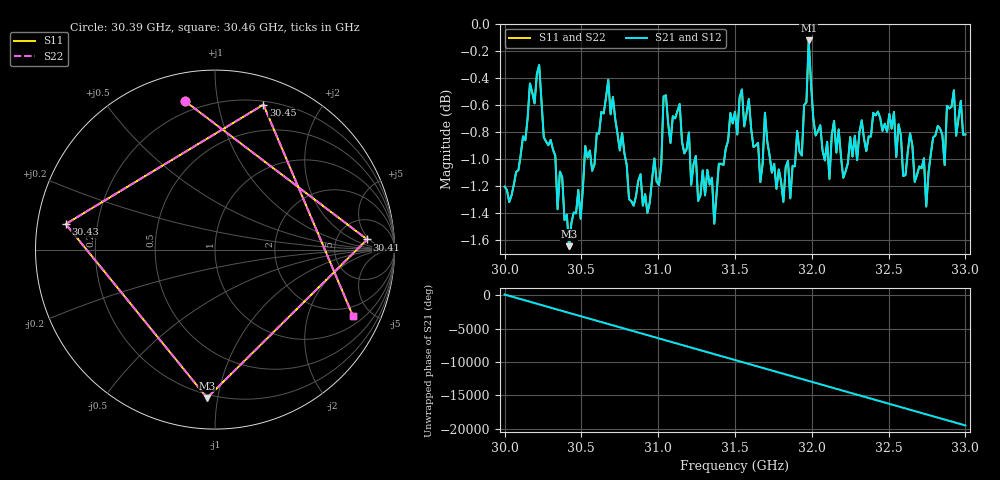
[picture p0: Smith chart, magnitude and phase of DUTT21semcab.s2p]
!Keysight Technologies,N5224B,MY57181201,A.12.70.07
!Date: Thursday, July 14, 2022 17:09:13
!Correction: S11(Response(S21))
!S21(Response(S21))
!S12(Response(S21))
!S22(Response(S21))
!S2P File: Measurements: S11, S21, S12, S22:
# Hz S  dB  R 50
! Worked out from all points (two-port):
!   201 points, 30 GHz to 33 GHz, reference 50 ohm
!   highest |S21| = -0.12 dB at 31.98 GHz (marker M1); lowest = -1.6 dB at 30.42 GHz (marker M2)
!   |S21| within 3 dB of the highest: start of sweep to end of sweep
!   lowest |S11| = -1.6 dB at 30.42 GHz (marker M3), VSWR 10.57, Z = 8.91 - j46.6 ohm
!   |S11| at or under -10 dB: nowhere
!   |S22| runs from -1.6 to -0.1 dB; largest |S21 - S12| = 0
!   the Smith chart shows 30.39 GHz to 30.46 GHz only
!   S11 on the Smith chart (normalised r, x): 30.39 GHz: 0.14, +0.81; 30.41 GHz: 11, +4; 30.43 GHz: 0.09, +0.08; 30.45 GHz: 0.23, +1.36; 30.46 GHz: 1.46, -3.89
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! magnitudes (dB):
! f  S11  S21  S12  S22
! 30 GHz  -1.2  -1.2  -1.2  -1.2
! 30.23 GHz  -0.3  -0.3  -0.3  -0.3
! 30.39 GHz  -1.5  -1.5  -1.5  -1.5
! 30.41 GHz  -1.4  -1.4  -1.4  -1.4
! 30.42 GHz  -1.6  -1.6  -1.6  -1.6
! 30.43 GHz  -1.5  -1.5  -1.5  -1.5
! 30.45 GHz  -1.4  -1.4  -1.4  -1.4
! 30.46 GHz  -1.4  -1.4  -1.4  -1.4
! 30.51 GHz  -1.2  -1.2  -1.2  -1.2
! 30.68 GHz  -0.4  -0.4  -0.4  -0.4
! 30.81 GHz  -1.3  -1.3  -1.3  -1.3
! 31 GHz  -1.2  -1.2  -1.2  -1.2
! 31.04 GHz  -0.5  -0.5  -0.5  -0.5
! 31.14 GHz  -0.6  -0.6  -0.6  -0.6
! 31.36 GHz  -1.5  -1.5  -1.5  -1.5
! 31.5 GHz  -0.7  -0.7  -0.7  -0.7
! 31.86 GHz  -1.3  -1.3  -1.3  -1.3
! 31.98 GHz  -0.1  -0.1  -0.1  -0.1
! 32.01 GHz  -0.7  -0.7  -0.7  -0.7
! 32.51 GHz  -0.7  -0.7  -0.7  -0.7
! 32.74 GHz  -1.4  -1.4  -1.4  -1.4
! 33 GHz  -0.8  -0.8  -0.8  -0.8
